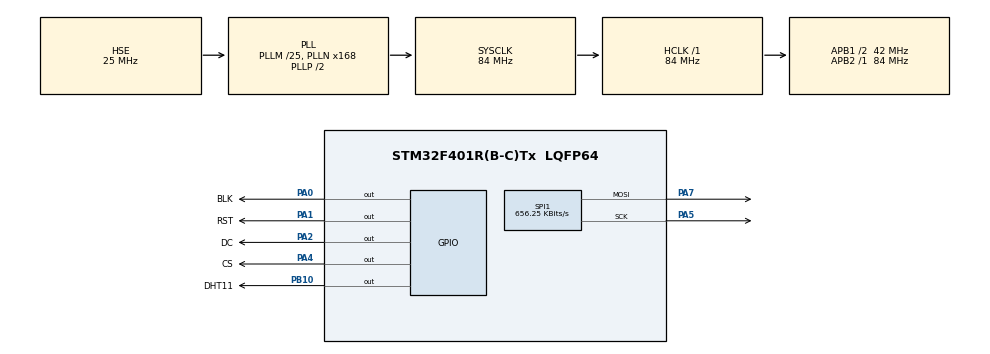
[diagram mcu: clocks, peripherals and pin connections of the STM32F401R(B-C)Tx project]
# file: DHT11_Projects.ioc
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Mcu.Family=STM32F4
Mcu.Name=STM32F401R(B-C)Tx
Mcu.Package=LQFP64
NVIC.PriorityGroup=NVIC_PRIORITYGROUP_4
PA0-WKUP.GPIO_Label=BLK
PA0-WKUP.GPIO_PuPd=GPIO_NOPULL
PA0-WKUP.PinState=GPIO_PIN_SET
PA0-WKUP.Signal=GPIO_Output
PA1.GPIO_Label=RST
PA1.GPIO_PuPd=GPIO_NOPULL
PA1.PinState=GPIO_PIN_RESET
PA1.Signal=GPIO_Output
PA13.Mode=Serial_Wire
PA13.Signal=SYS_JTMS-SWDIO
PA14.Mode=Serial_Wire
PA14.Signal=SYS_JTCK-SWCLK
PA2.GPIO_Label=DC
PA2.GPIO_PuPd=GPIO_NOPULL
PA2.PinState=GPIO_PIN_RESET
PA2.Signal=GPIO_Output
PA4.GPIO_Label=CS
PA4.GPIO_PuPd=GPIO_NOPULL
PA4.PinState=GPIO_PIN_SET
PA4.Signal=GPIO_Output
PA5.GPIO_Speed=GPIO_SPEED_FREQ_HIGH
PA5.Mode=TX_Only_Simplex_Unidirect_Master
PA5.Signal=SPI1_SCK
PA7.GPIO_Speed=GPIO_SPEED_FREQ_HIGH
PA7.Mode=TX_Only_Simplex_Unidirect_Master
PA7.Signal=SPI1_MOSI
PB10.GPIO_Label=DHT11
PB10.GPIO_ModeDefaultOutputPP=GPIO_MODE_OUTPUT_OD
PB10.GPIO_PuPd=GPIO_PULLUP
PB10.PinState=GPIO_PIN_SET
PB10.Signal=GPIO_Output
PH0\ -\ OSC_IN.Mode=HSE-External-Oscillator
PH0\ -\ OSC_IN.Signal=RCC_OSC_IN
PH1\ -\ OSC_OUT.Mode=HSE-External-Oscillator
PH1\ -\ OSC_OUT.Signal=RCC_OSC_OUT
ProjectManager.HeapSize=0x200
ProjectManager.StackSize=0x400
ProjectManager.TargetToolchain=STM32CubeIDE
RCC.48MHZClocksFreq_Value=42000000
RCC.AHBFreq_Value=84000000
RCC.APB1CLKDivider=RCC_HCLK_DIV2
RCC.APB1Freq_Value=42000000
RCC.APB1TimFreq_Value=84000000
RCC.APB2Freq_Value=84000000
RCC.APB2TimFreq_Value=84000000
RCC.CortexFreq_Value=84000000
RCC.EnbaleCSS=true
RCC.HCLKFreq_Value=84000000
RCC.HSE_VALUE=25000000
RCC.HSI_VALUE=16000000
RCC.LSE_VALUE=32768
RCC.PLLM=25
RCC.PLLN=168
RCC.PLLSourceVirtual=RCC_PLLSOURCE_HSE
RCC.SYSCLKFreq_VALUE=84000000
RCC.SYSCLKSource=RCC_SYSCLKSOURCE_PLLCLK
RCC.VCOOutputFreq_Value=168000000
SPI1.BaudRatePrescaler=SPI_BAUDRATEPRESCALER_128
SPI1.CalculateBaudRate=656.25 KBits/s
SPI1.Direction=SPI_DIRECTION_2LINES
SPI1.Mode=SPI_MODE_MASTER
SPI1.VirtualType=VM_MASTER
board=custom

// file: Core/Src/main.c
/* USER CODE BEGIN Header */
/*
  DHT11_TempHum
*/
/* USER CODE END Header */
#include "main.h"
#include "spi.h"
#include "gpio.h"

/* USER CODE BEGIN Includes */
#include "st7735.h"
#include "stm32f4xx_hal.h"
#include "stdbool.h"
/* USER CODE END Includes */

/* USER CODE BEGIN PV */
uint8_t error_was = 0;
uint8_t dht11_raw[5];
/* USER CODE END PV */

void SystemClock_Config(void);

/* USER CODE BEGIN 0 */
void DWT_Init(void)
{
	CoreDebug->DEMCR |= CoreDebug_DEMCR_TRCENA_Msk;

	DWT->CYCCNT = 0;
	DWT->CTRL |= DWT_CTRL_CYCCNTENA_Msk;
}

void delay_mk(uint32_t mk)
{
	uint32_t mk_count = mk * (SystemCoreClock / 1000000U);

	DWT->CYCCNT = 0U;

	while(DWT->CYCCNT < mk_count);
}

uint8_t DHT11_ReadData(uint8_t *hum, uint8_t *temp)
{
    uint8_t buf[5] = {0};
    uint8_t byte_cnt, bit_cnt;
    uint16_t timeout;

    timeout = 200;
    while (HAL_GPIO_ReadPin(DHT11_GPIO_Port, DHT11_Pin) == GPIO_PIN_SET)
    {
        if (--timeout == 0) return 1;
        delay_mk(1);
    }

    timeout = 200;
    while (HAL_GPIO_ReadPin(DHT11_GPIO_Port, DHT11_Pin) == GPIO_PIN_RESET)
    {
        if (--timeout == 0) return 2;
        delay_mk(1);
    }

    __disable_irq();

    for (byte_cnt = 0; byte_cnt < 5; byte_cnt++)
    {
        for (bit_cnt = 0; bit_cnt < 8; bit_cnt++)
        {
            timeout = 200;
            while (HAL_GPIO_ReadPin(DHT11_GPIO_Port, DHT11_Pin) == GPIO_PIN_SET)
            {
                if (--timeout == 0)
                {
                    __enable_irq();
                    return 3;
                }
                delay_mk(1);
            }

            timeout = 200;
            while (HAL_GPIO_ReadPin(DHT11_GPIO_Port, DHT11_Pin) == GPIO_PIN_RESET)
            {
                if (--timeout == 0)
                {
                    __enable_irq();
                    return 4;
                }
                delay_mk(1);
            }

            delay_mk(40);

            buf[byte_cnt] <<= 1;
            if (HAL_GPIO_ReadPin(DHT11_GPIO_Port, DHT11_Pin) == GPIO_PIN_SET)
            {
                buf[byte_cnt] |= 1;

                timeout = 200;
                while (HAL_GPIO_ReadPin(DHT11_GPIO_Port, DHT11_Pin) == GPIO_PIN_SET)
                {
                    if (--timeout == 0)
                    {
                        __enable_irq();
                        return 5;
                    }
                    delay_mk(1);
                }
            }
        }
    }

    __enable_irq();

    for (uint8_t i = 0; i < 5; i++) {
        dht11_raw[i] = buf[i];
    }

    if (buf[4] == (uint8_t)(buf[0] + buf[1] + buf[2] + buf[3]))
    {
        *hum  = buf[0];
        *temp = buf[2];
        return 0;
    }

    return 6;
}
/* USER CODE END 0 */

int main(void)
{

  /* MCU Configuration--------------------------------------------------------*/

  /* Reset of all peripherals, Initializes the Flash interface and the Systick. */
  HAL_Init();

  /* Configure the system clock */
  SystemClock_Config();

  /* Initialize all configured peripherals */
  MX_GPIO_Init();
  MX_SPI1_Init();
  /* USER CODE BEGIN 2 */
  DWT_Init();

  ST7735_Init();
  HAL_GPIO_WritePin(BLK_GPIO_Port, BLK_Pin, GPIO_PIN_SET);
  HAL_Delay(150);

  ST7735_DrawRect(0, 0, 160, 128, ST7735_COLOR_WHITE);
  ST7735_DrawRect(4, 2, 160, 126, ST7735_COLOR_BLACK);
  ST7735_DrawRect(94, 2, 96, 126, ST7735_COLOR_WHITE);
  ST7735_DrawRect(158, 2, 160, 126, ST7735_COLOR_WHITE);
  ST7735_DrawRect(2, 105, 160, 107, ST7735_COLOR_WHITE);
  ST7735_DrawRect(2, 26, 160, 28, ST7735_COLOR_WHITE);

  /* USER CODE END 2 */

  /* Infinite loop */
  while (1)
  {

    /* USER CODE BEGIN 3 */
	   HAL_GPIO_WritePin(DHT11_GPIO_Port, DHT11_Pin, GPIO_PIN_RESET);
	   HAL_Delay(20);
	   HAL_GPIO_WritePin(DHT11_GPIO_Port, DHT11_Pin, GPIO_PIN_SET);

	   delay_mk(45);

	   uint8_t humidity = 0, temperature = 0;
	   uint8_t res = DHT11_ReadData(&humidity, &temperature);

	   if (res == 0)
	   {
		   if(error_was)
		   {
	    	    ST7735_DrawRect(0, 0, 160, 128, ST7735_COLOR_WHITE);
	    	    ST7735_DrawRect(4, 2, 160, 126, ST7735_COLOR_BLACK);
		    	ST7735_DrawRect(94, 2, 96, 126, ST7735_COLOR_WHITE);
		    	ST7735_DrawRect(158, 2, 160, 126, ST7735_COLOR_WHITE);
		    	ST7735_DrawRect(2, 105, 160, 107, ST7735_COLOR_WHITE);
		    	ST7735_DrawRect(2, 26, 160, 28, ST7735_COLOR_WHITE);
		    	error_was = 0;
		    }
	     char buf[16];
	     sprintf(buf, "Hum: %d %%", humidity);
	     ST7735_DrawString(10, 45, buf, Font_8x16, ST7735_COLOR_GREEN, ST7735_COLOR_BLACK);

	     sprintf(buf, "Temp: %d C", temperature);
	     ST7735_DrawString(10, 70, buf, Font_8x16, ST7735_COLOR_YELLOW, ST7735_COLOR_BLACK);
	     DrawVBar(110, 40, 6, 50, temperature, 50, 0xF800, "T");
	     DrawVBar(135, 40, 6, 50, humidity,    100, 0x07FF, "H");
	   }
	   else
	   {
		 error_was = 1;
	     ST7735_DrawRect(0, 0, 158, 126, ST7735_COLOR_BLACK);
	     ST7735_DrawString(10, 10, "DHT Error", Font_8x16, ST7735_COLOR_WHITE, ST7735_COLOR_RED);

	     char err[16];
	     sprintf(err, "Code: %d", res);
	     ST7735_DrawString(10, 30, err, Font_8x16, ST7735_COLOR_WHITE, ST7735_COLOR_RED);

	     char raw_str[32];
	     sprintf(raw_str, "%02X %02X %02X %02X %02X",
	             dht11_raw[0], dht11_raw[1], dht11_raw[2],
	             dht11_raw[3], dht11_raw[4]);
	     ST7735_DrawString(10, 55, raw_str, Font_8x16, ST7735_COLOR_YELLOW, ST7735_COLOR_RED);

	      switch(res)
	      {
	        case 1: ST7735_DrawString(10, 90, "No response", Font_8x16, ST7735_COLOR_WHITE, ST7735_COLOR_RED); break;
	        case 2: ST7735_DrawString(10, 90, "Low stuck", Font_8x16, ST7735_COLOR_WHITE, ST7735_COLOR_RED); break;
	        case 3: ST7735_DrawString(10, 90, "Bit start fail", Font_8x16, ST7735_COLOR_WHITE, ST7735_COLOR_RED); break;
	        case 4: ST7735_DrawString(10, 90, "Low too long", Font_8x16, ST7735_COLOR_WHITE, ST7735_COLOR_RED); break;
	        case 5: ST7735_DrawString(10, 90, "High too long", Font_8x16, ST7735_COLOR_WHITE, ST7735_COLOR_RED); break;
	        case 6: ST7735_DrawString(10, 90, "CRC error", Font_8x16, ST7735_COLOR_WHITE, ST7735_COLOR_RED); break;
	        default: break;
	      }
	    }
	    HAL_Delay(2000);
  }
  /* USER CODE END 3 */
}

void SystemClock_Config(void)
{
  RCC_OscInitTypeDef RCC_OscInitStruct = {0};
  RCC_ClkInitTypeDef RCC_ClkInitStruct = {0};

  /** Configure the main internal regulator output voltage
  */
  __HAL_RCC_PWR_CLK_ENABLE();
  __HAL_PWR_VOLTAGESCALING_CONFIG(PWR_REGULATOR_VOLTAGE_SCALE2);

  /** Initializes the RCC Oscillators according to the specified parameters
  * in the RCC_OscInitTypeDef structure.
  */
  RCC_OscInitStruct.OscillatorType = RCC_OSCILLATORTYPE_HSE;
  RCC_OscInitStruct.HSEState = RCC_HSE_ON;
  RCC_OscInitStruct.PLL.PLLState = RCC_PLL_ON;
  RCC_OscInitStruct.PLL.PLLSource = RCC_PLLSOURCE_HSE;
  RCC_OscInitStruct.PLL.PLLM = 25;
  RCC_OscInitStruct.PLL.PLLN = 168;
  RCC_OscInitStruct.PLL.PLLP = RCC_PLLP_DIV2;
  RCC_OscInitStruct.PLL.PLLQ = 4;
  if (HAL_RCC_OscConfig(&RCC_OscInitStruct) != HAL_OK)
  {
    Error_Handler();
  }

  /** Initializes the CPU, AHB and APB buses clocks
  */
  RCC_ClkInitStruct.ClockType = RCC_CLOCKTYPE_HCLK|RCC_CLOCKTYPE_SYSCLK
                              |RCC_CLOCKTYPE_PCLK1|RCC_CLOCKTYPE_PCLK2;
  RCC_ClkInitStruct.SYSCLKSource = RCC_SYSCLKSOURCE_PLLCLK;
  RCC_ClkInitStruct.AHBCLKDivider = RCC_SYSCLK_DIV1;
  RCC_ClkInitStruct.APB1CLKDivider = RCC_HCLK_DIV2;
  RCC_ClkInitStruct.APB2CLKDivider = RCC_HCLK_DIV1;

  if (HAL_RCC_ClockConfig(&RCC_ClkInitStruct, FLASH_LATENCY_2) != HAL_OK)
  {
    Error_Handler();
  }

  /** Enables the Clock Security System
  */
  HAL_RCC_EnableCSS();
}

void Error_Handler(void)
{
  __disable_irq();
  while (1)
  {
  }
}
